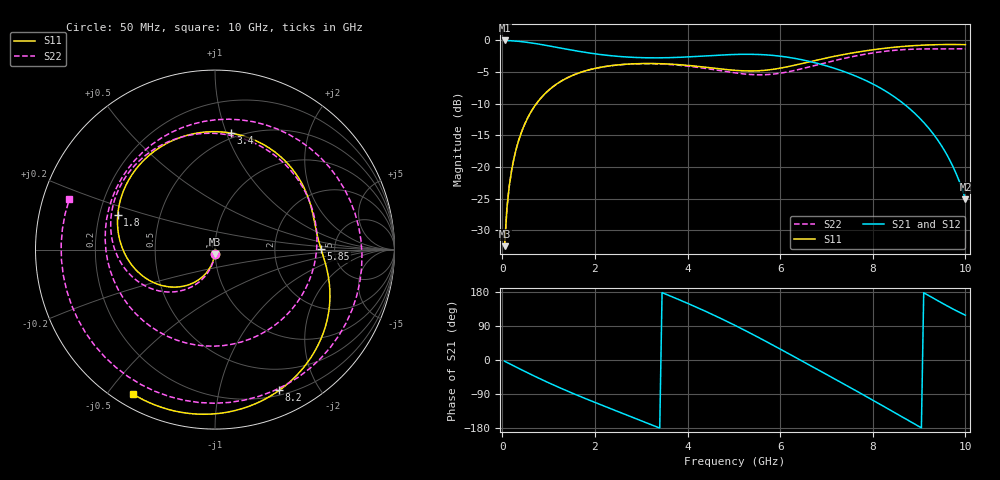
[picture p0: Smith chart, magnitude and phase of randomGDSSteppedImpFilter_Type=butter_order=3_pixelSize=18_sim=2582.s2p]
! freq	dB(S11)	phase(S11)	dB(S12)	phase(S12)
!  dB(S21)	phase(S21)	dB(S22)	phase(S22)
!S-par simulation data
#  GHz  S  DB  R 50
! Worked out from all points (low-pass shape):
!   200 points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, 50 MHz to 10 GHz, reference 50 ohm
!   highest |S21| = -0.01 dB at 50 MHz (marker M1); lowest = -25.1 dB at 10 GHz (marker M2)
!   |S21| within 3 dB of the highest: start of sweep to 6.438 GHz
!   lowest |S11| = -32.5 dB at 50 MHz (marker M3), VSWR 1.05, Z = 49.8 - j2.36 ohm
!   |S11| at or under -10 dB: start of sweep to 736.1 MHz
!   |S22| runs from -32.5 to -1.3 dB; largest |S21 - S12| = 0
!   S11 on the Smith chart (normalised r, x): 50 MHz: 1.00, -0.05; 1.8 GHz: 0.28, +0.16; 3.4 GHz: 0.46, +1.04; 5.85 GHz: 3.89, +0.02; 8.2 GHz: 0.25, -1.53; 10 GHz: 0.05, -0.58
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0.05  -32.49 -93.4  -0.01 -3.2  -0.01 -3.2  -32.46 -92.9
0.2  -20.57 -103.8  -0.06 -12.6  -0.06 -12.6  -20.58 -102.1
0.5  -12.97 -123.6  -0.27 -31.0  -0.27 -31.0  -12.96 -119.3
1.1  -7.27 -160.8  -0.99 -65.6  -0.99 -65.6  -7.27 -151.5
1.75  -4.90 162.8  -1.84 -99.6  -1.84 -99.6  -4.91 176.9
1.8  -4.80 160.2  -1.90 -102.1  -1.90 -102.1  -4.80 174.6
2.55  -3.83 122.1  -2.55 -138.5  -2.55 -138.5  -3.84 140.0
3.4  -3.67 82.1  -2.75 -179.7  -2.75 -179.7  -3.72 98.0
4.15  -4.04 50.1  -2.55 141.6  -2.55 141.6  -4.19 53.4
5.05  -4.74 19.5  -2.21 89.9  -2.21 89.9  -5.15 -18.2
5.85  -4.56 0.2  -2.37 38.8  -2.37 38.8  -5.32 -101.7
6.3  -3.94 -10.6  -2.82 8.9  -2.82 8.9  -4.76 -152.0
6.7  -3.26 -21.2  -3.43 -17.9  -3.43 -17.9  -4.05 164.1
7.15  -2.54 -34.1  -4.35 -48.1  -4.35 -48.1  -3.23 115.9
7.5  -2.05 -44.5  -5.25 -71.8  -5.25 -71.8  -2.65 78.7
7.8  -1.69 -53.5  -6.16 -92.2  -6.16 -92.2  -2.22 46.7
8.2  -1.29 -65.5  -7.67 -119.8  -7.67 -119.8  -1.78 3.6
8.35  -1.16 -70.0  -8.34 -130.3  -8.34 -130.3  -1.65 -12.7
8.8  -0.87 -83.6  -10.81 -161.6  -10.81 -161.6  -1.40 -62.3
9.15  -0.73 -94.1  -13.36 174.0  -13.36 174.0  -1.34 -101.7
9.6  -0.65 -107.6  -18.05 143.2  -18.05 143.2  -1.34 -153.2
10  -0.67 -119.7  -25.06 118.2  -25.06 118.2  -1.32 160.9
